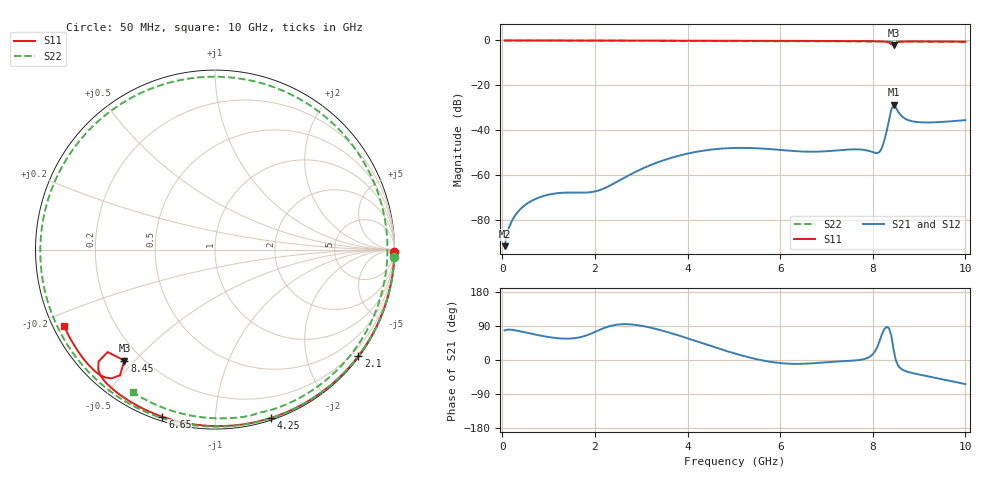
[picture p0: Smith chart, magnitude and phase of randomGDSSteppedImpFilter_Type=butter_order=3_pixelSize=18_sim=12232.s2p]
! freq	dB(S11)	phase(S11)	dB(S12)	phase(S12)
!  dB(S21)	phase(S21)	dB(S22)	phase(S22)
!S-par simulation data
#  GHz  S  DB  R 50
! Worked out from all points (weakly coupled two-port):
!   200 points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, 50 MHz to 10 GHz, reference 50 ohm
!   highest |S21| = -28.53 dB at 8.45 GHz (marker M1); lowest = -91.5 dB at 50 MHz (marker M2)
!   lowest |S11| = -2.0 dB at 8.45 GHz (marker M3), VSWR 8.90, Z = 6.87 - j23.4 ohm
!   |S11| at or under -10 dB: nowhere
!   |S22| runs from -0.8 to 0.0 dB; largest |S21 - S12| = 0
!   S11 on the Smith chart (normalised r, x): 50 MHz: open; 2.1 GHz: 0.03, -3.02; 4.25 GHz: 0.02, -1.38; 6.65 GHz: 0.02, -0.73; 8.45 GHz: 0.14, -0.47; 10 GHz: 0.03, -0.24
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0.05  -0.00 -0.9  -91.55 78.2  -91.55 78.2  -0.00 -2.5
0.2  -0.00 -3.6  -80.60 79.8  -80.60 79.8  -0.00 -9.8
0.8  -0.02 -14.2  -69.82 65.0  -69.82 65.0  -0.04 -39.2
1.75  -0.04 -30.7  -67.73 62.3  -67.73 62.3  -0.11 -86.2
2.1  -0.05 -36.6  -66.62 79.5  -66.62 79.5  -0.13 -104.0
2.7  -0.06 -46.7  -60.35 94.5  -60.35 94.5  -0.17 -135.7
3.4  -0.08 -58.2  -53.90 79.3  -53.90 79.3  -0.23 -175.5
3.8  -0.09 -64.6  -51.36 65.0  -51.36 65.0  -0.26 160.1
4.25  -0.10 -71.7  -49.35 47.2  -49.35 47.2  -0.29 131.6
4.65  -0.11 -77.9  -48.28 31.2  -48.28 31.2  -0.31 105.6
5.05  -0.13 -84.0  -47.82 16.2  -47.82 16.2  -0.33 79.8
5.85  -0.16 -95.9  -48.46 -5.9  -48.46 -5.9  -0.34 31.6
6.65  -0.21 -107.5  -49.51 -9.1  -49.51 -9.1  -0.35 -9.1
6.7  -0.21 -108.2  -49.51 -8.7  -49.51 -8.7  -0.35 -11.4
7.4  -0.26 -118.3  -48.65 -2.9  -48.65 -2.9  -0.39 -40.6
8.1  -0.37 -129.3  -50.14 35.1  -50.14 35.1  -0.45 -65.3
8.2  -0.43 -131.4  -47.61 68.4  -47.61 68.4  -0.47 -68.6
8.35  -0.92 -136.1  -35.66 83.8  -35.66 83.8  -0.51 -73.3
8.45  -1.96 -129.2  -28.53 27.3  -28.53 27.3  -0.51 -76.1
8.65  -0.49 -131.9  -34.13 -26.2  -34.13 -26.2  -0.50 -82.4
8.85  -0.42 -136.0  -35.96 -34.3  -35.96 -34.3  -0.53 -88.3
10  -0.52 -153.1  -35.45 -63.7  -35.45 -63.7  -0.75 -120.1
